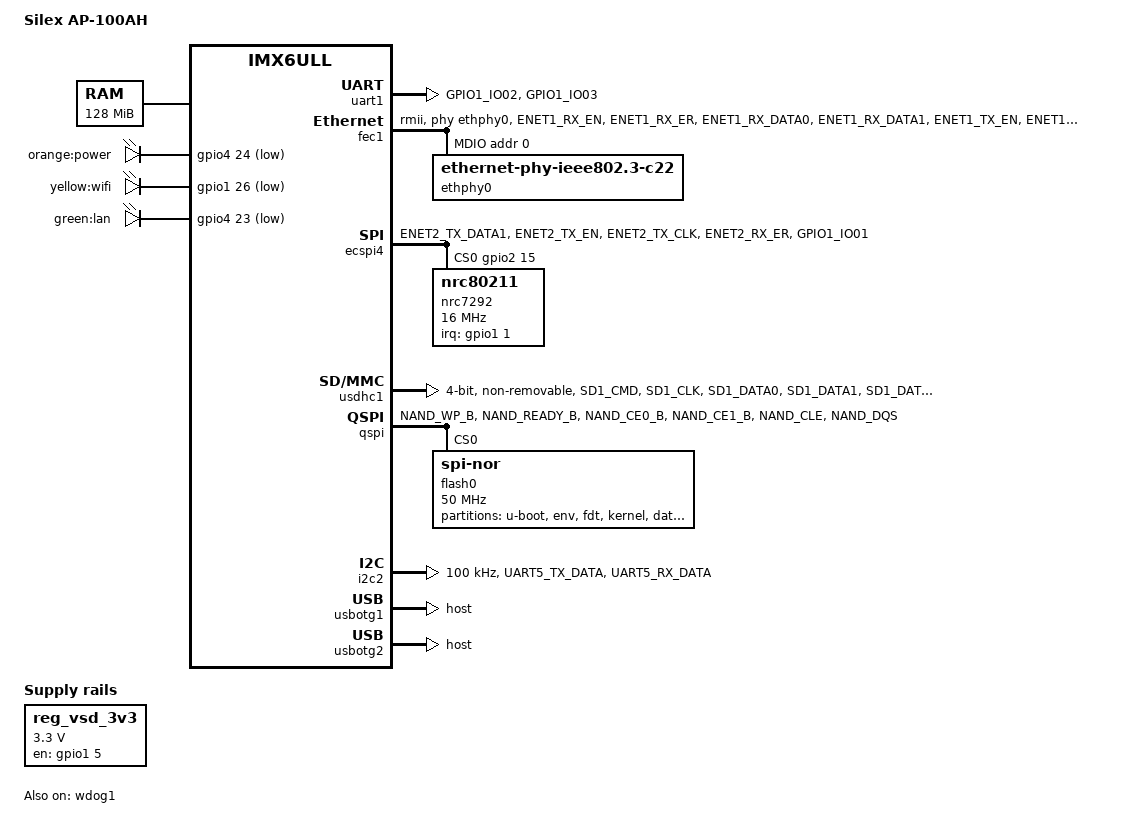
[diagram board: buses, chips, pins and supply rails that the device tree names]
// SPDX-License-Identifier: GPL-2.0-or-later OR MIT
/*
 * Device Tree Source for Silex AP-100AH
 *
 * SoC: NXP i.MX6ULL
 * RAM: 128 MB DDR3
 * Flash: 32 MB QSPI NOR (Spansion S25FL256S1)
 * Ethernet: FEC with RMII PHY
 * WiFi: NRC7292 via SDIO (USDHC1)
 * Console: UART1 (ttymxc0) @ 115200
 *
 * Copyright (C) 2024 OpenWrt.org
 */

/dts-v1/;

#include "imx6ull.dtsi"

/ {
	model = "Silex AP-100AH";
	compatible = "silex,ap-100ah", "fsl,imx6ull";

	chosen {
		stdout-path = &uart1;
		bootargs = "console=ttymxc0,115200 root=/dev/mtdblock5 rootwait ro rootfstype=squashfs";
	};

	memory@80000000 {
		device_type = "memory";
		reg = <0x80000000 0x08000000>; /* 128 MB */
	};

	reg_vsd_3v3: regulator-vsd-3v3 {
		compatible = "regulator-fixed";
		regulator-name = "VSD_3V3";
		regulator-min-microvolt = <3300000>;
		regulator-max-microvolt = <3300000>;
		gpio = <&gpio1 5 GPIO_ACTIVE_HIGH>;
		enable-active-high;
	};

	leds {
		compatible = "gpio-leds";

		led-power {
			label = "orange:power";
			gpios = <&gpio4 24 GPIO_ACTIVE_LOW>;
			default-state = "on";
		};

		led-wifi {
			label = "yellow:wifi";
			gpios = <&gpio1 26 GPIO_ACTIVE_LOW>;
			default-state = "off";
		};

		led-lan {
			label = "green:lan";
			gpios = <&gpio4 23 GPIO_ACTIVE_LOW>;
			default-state = "off";
		};
	};
};

&iomuxc {
	pinctrl_uart1: uart1grp {
		fsl,pins = <
			MX6UL_PAD_GPIO1_IO02__UART1_DCE_TX	0x1b0b1
			MX6UL_PAD_GPIO1_IO03__UART1_DCE_RX	0x1b0b1
		>;
	};

	pinctrl_enet1: enet1grp {
		fsl,pins = <
			MX6UL_PAD_ENET1_RX_EN__ENET1_RX_EN	0x1b0b0
			MX6UL_PAD_ENET1_RX_ER__ENET1_RX_ER	0x1b0b0
			MX6UL_PAD_ENET1_RX_DATA0__ENET1_RDATA00	0x1b0b0
			MX6UL_PAD_ENET1_RX_DATA1__ENET1_RDATA01	0x1b0b0
			MX6UL_PAD_ENET1_TX_EN__ENET1_TX_EN	0x1b0b0
			MX6UL_PAD_ENET1_TX_DATA0__ENET1_TDATA00	0x1b0b0
			MX6UL_PAD_ENET1_TX_DATA1__ENET1_TDATA01	0x1b0b0
			MX6UL_PAD_ENET1_TX_CLK__ENET1_REF_CLK1	0x4001b031
		>;
	};

	pinctrl_enet1_mdio: enet1mdiogrp {
		fsl,pins = <
			MX6UL_PAD_GPIO1_IO07__ENET1_MDC		0x1b0b0
			MX6UL_PAD_GPIO1_IO06__ENET1_MDIO	0x1b0b0
		>;
	};

	pinctrl_usdhc1: usdhc1grp {
		fsl,pins = <
			MX6UL_PAD_SD1_CMD__USDHC1_CMD		0x17059
			MX6UL_PAD_SD1_CLK__USDHC1_CLK		0x10071
			MX6UL_PAD_SD1_DATA0__USDHC1_DATA0	0x17059
			MX6UL_PAD_SD1_DATA1__USDHC1_DATA1	0x17059
			MX6UL_PAD_SD1_DATA2__USDHC1_DATA2	0x17059
			MX6UL_PAD_SD1_DATA3__USDHC1_DATA3	0x17059
		>;
	};

	pinctrl_qspi: qspigrp {
		fsl,pins = <
			MX6UL_PAD_NAND_WP_B__QSPI_A_SCLK	0x70a1
			MX6UL_PAD_NAND_READY_B__QSPI_A_DATA00	0x70a1
			MX6UL_PAD_NAND_CE0_B__QSPI_A_DATA01	0x70a1
			MX6UL_PAD_NAND_CE1_B__QSPI_A_DATA02	0x70a1
			MX6UL_PAD_NAND_CLE__QSPI_A_DATA03	0x70a1
			MX6UL_PAD_NAND_DQS__QSPI_A_SS0_B	0x70a1
		>;
	};

	pinctrl_ecspi4: ecspi4grp {
		fsl,pins = <
			MX6UL_PAD_ENET2_TX_DATA1__ECSPI4_SCLK	0x1090
			MX6UL_PAD_ENET2_TX_EN__ECSPI4_MOSI	0x1090
			MX6UL_PAD_ENET2_TX_CLK__ECSPI4_MISO	0x1090
			MX6UL_PAD_ENET2_RX_ER__GPIO2_IO15	0x1090
		>;
	};

	pinctrl_i2c2: i2c2grp {
		fsl,pins = <
			MX6UL_PAD_UART5_TX_DATA__I2C2_SCL	0x4001b8b0
			MX6UL_PAD_UART5_RX_DATA__I2C2_SDA	0x4001b8b0
		>;
	};

	pinctrl_nrc_irq: nrcirqgrp {
		fsl,pins = <
			MX6UL_PAD_GPIO1_IO01__GPIO1_IO01	0x17059
		>;
	};
};

/* Console UART */
&uart1 {
	pinctrl-names = "default";
	pinctrl-0 = <&pinctrl_uart1>;
	status = "okay";
};

/* Ethernet (FEC1 @ 0x02188000) */
&fec1 {
	pinctrl-names = "default";
	pinctrl-0 = <&pinctrl_enet1 &pinctrl_enet1_mdio>;
	phy-mode = "rmii";
	phy-handle = <&ethphy0>;
	phy-reset-gpios = <&gpio1 10 GPIO_ACTIVE_LOW>;
	phy-reset-duration = <1>;
	status = "okay";

	mdio {
		#address-cells = <1>;
		#size-cells = <0>;

		ethphy0: ethernet-phy@0 {
			compatible = "ethernet-phy-ieee802.3-c22";
			reg = <0>;
			smsc,disable-energy-detect;
		};
	};
};

/* NRC7292 WiFi on SPI (ecspi4, bus 3) */
&ecspi4 {
	pinctrl-names = "default";
	pinctrl-0 = <&pinctrl_ecspi4 &pinctrl_nrc_irq>;
	fsl,spi-num-chipselects = <1>;
	cs-gpios = <&gpio2 15 GPIO_ACTIVE_HIGH>;
	status = "okay";

	nrc7292: wifi@0 {
		compatible = "nrc80211";
		spi-max-frequency = <16000000>;
		reg = <0>;
		interrupt-parent = <&gpio1>;
		interrupts = <1 IRQ_TYPE_LEVEL_HIGH>;
	};
};

/* USDHC1 */
&usdhc1 {
	pinctrl-names = "default";
	pinctrl-0 = <&pinctrl_usdhc1>;
	bus-width = <4>;
	non-removable;
	status = "okay";
};

/* QSPI NOR Flash */
&qspi {
	pinctrl-names = "default";
	pinctrl-0 = <&pinctrl_qspi>;
	status = "okay";

	flash0: flash@0 {
		#address-cells = <1>;
		#size-cells = <1>;
		compatible = "jedec,spi-nor";
		spi-max-frequency = <50000000>;
		spi-rx-bus-width = <4>;
		spi-tx-bus-width = <1>;
		reg = <0>;

		partitions {
			compatible = "fixed-partitions";
			#address-cells = <1>;
			#size-cells = <1>;

			partition@0 {
				label = "u-boot";
				reg = <0x0 0x40000>;
				read-only;
			};

			partition@40000 {
				label = "env";
				reg = <0x40000 0x10000>;
			};

			partition@50000 {
				label = "fdt";
				reg = <0x50000 0x10000>;
			};

			partition@60000 {
				label = "kernel";
				reg = <0x60000 0x300000>;
			};

			partition@360000 {
				label = "data";
				reg = <0x360000 0x100000>;
			};

			partition@460000 {
				label = "rootfs";
				reg = <0x460000 0x1BA0000>;
			};
		};
	};
};

/* I2C2 - PFUZE3001 PMIC */
&i2c2 {
	pinctrl-names = "default";
	pinctrl-0 = <&pinctrl_i2c2>;
	clock-frequency = <100000>;
	status = "okay";
};

/* USB OTG1 - host mode */
&usbotg1 {
	dr_mode = "host";
	disable-over-current;
	status = "okay";
};

/* USB OTG2 - host mode */
&usbotg2 {
	dr_mode = "host";
	disable-over-current;
	status = "okay";
};

/* Watchdog for proper reboot */
&wdog1 {
	status = "okay";
};

/* Disable unused */
&fec2 {
	status = "disabled";
};
